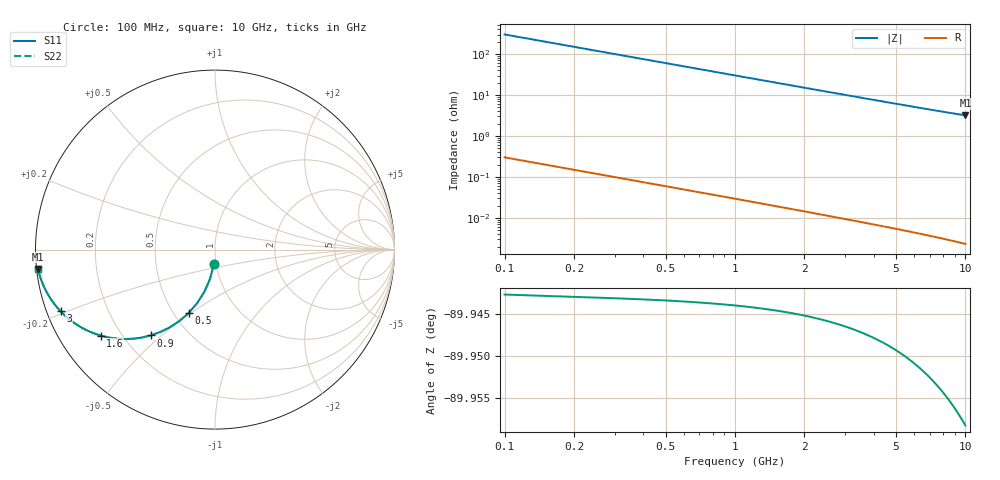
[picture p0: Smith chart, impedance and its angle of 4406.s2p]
# Hz S RI R 50.00
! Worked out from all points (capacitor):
!   100 points, 100 MHz to 10 GHz, reference 50 ohm
!   read as one part in shunt: C = 5.28 pF near 100 MHz
!   lowest |Z| = 3.19 ohm at 10 GHz (marker M1)
!   S11 on the Smith chart (normalised r, x): 100 MHz: 0.97, -0.16; 500 MHz: 0.59, -0.49; 900 MHz: 0.31, -0.46; 1.6 GHz: 0.12, -0.33; 3 GHz: 0.04, -0.19; 10 GHz: 0.00, -0.05
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1e8  -0.00689 -0.0824  0.993 -0.0825  0.993 -0.0825  -0.00689 -0.0824
2e8  -0.0269 -0.1614  0.973 -0.1617  0.973 -0.1617  -0.0269 -0.1614
3e8  -0.0586 -0.2341  0.9414 -0.2346  0.9414 -0.2346  -0.0586 -0.2341
4e8  -0.0995 -0.2986  0.9004 -0.2992  0.9004 -0.2992  -0.0995 -0.2986
5e8  -0.1472 -0.3534  0.8528 -0.3542  0.8528 -0.3542  -0.1472 -0.3534
6e8  -0.199 -0.3982  0.801 -0.3992  0.801 -0.3992  -0.199 -0.3982
7e8  -0.2526 -0.4334  0.7474 -0.4346  0.7474 -0.4346  -0.2526 -0.4334
9e8  -0.3582 -0.4782  0.6417 -0.4798  0.6417 -0.4798  -0.3582 -0.4782
1.2e9  -0.4979 -0.4985  0.502 -0.5005  0.502 -0.5005  -0.4979 -0.4985
1.4e9  -0.5743 -0.4928  0.4256 -0.4951  0.4256 -0.4951  -0.5743 -0.4928
1.6e9  -0.6379 -0.4788  0.3621 -0.4815  0.3621 -0.4815  -0.6379 -0.4788
1.8e9  -0.6902 -0.4604  0.3097 -0.4634  0.3097 -0.4634  -0.6902 -0.4604
2e9  -0.7333 -0.44  0.2666 -0.4434  0.2666 -0.4434  -0.7333 -0.44
2.3e9  -0.7843 -0.4088  0.2157 -0.4127  0.2157 -0.4127  -0.7843 -0.4088
2.6e9  -0.8228 -0.3791  0.1771 -0.3835  0.1771 -0.3835  -0.8228 -0.3791
3e9  -0.8607 -0.3431  0.1392 -0.3482  0.1392 -0.3482  -0.8607 -0.3431
3.4e9  -0.8881 -0.3118  0.1118 -0.3176  0.1118 -0.3176  -0.8881 -0.3118
4.2e9  -0.9237 -0.2613  0.0762 -0.2685  0.0762 -0.2685  -0.9237 -0.2613
5.1e9  -0.947 -0.2191  0.0529 -0.2278  0.0529 -0.2278  -0.947 -0.2191
6.7e9  -0.9686 -0.1678  0.0312 -0.1794  0.0312 -0.1794  -0.9686 -0.1678
8.4e9  -0.9799 -0.1321  0.0199 -0.1468  0.0199 -0.1468  -0.9799 -0.1321
1e10  -0.9858 -0.1083  0.0139 -0.1261  0.0139 -0.1261  -0.9858 -0.1083
